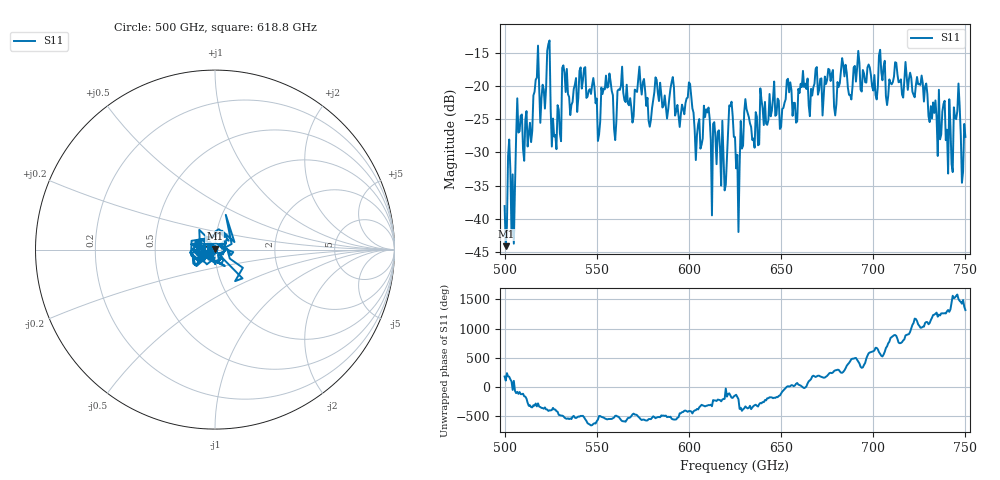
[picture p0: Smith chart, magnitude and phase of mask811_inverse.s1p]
!Created with skrf (http://scikit-rf.org).
# GHz S MA R 50.0
!freq magS11 angS11
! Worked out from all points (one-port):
!   401 points, 500 GHz to 750 GHz, reference 50 ohm
!   lowest |S11| = -44.2 dB at 500.6 GHz (marker M1), VSWR 1.01, Z = 49.8 + j0.597 ohm
!   |S11| at or under -10 dB: start of sweep to end of sweep
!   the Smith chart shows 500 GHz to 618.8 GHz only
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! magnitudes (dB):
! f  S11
! 500 GHz  -38.1
! 500.6 GHz  -44.2
! 505 GHz  -43.8
! 508.1 GHz  -26.8
! 513.8 GHz  -25.5
! 516.9 GHz  -19.0
! 520.6 GHz  -19.8
! 523.8 GHz  -13.6
! 526.9 GHz  -27.6
! 531.2 GHz  -17.2
! 542.5 GHz  -19.1
! 550.6 GHz  -28.3
! 562.5 GHz  -20.6
! 593.8 GHz  -22.8
! 609.4 GHz  -23.5
! 618.8 GHz  -30.3
! 622.5 GHz  -23.0
! 625 GHz  -27.7
! 626.2 GHz  -30.4
! 631.2 GHz  -23.4
! 634.4 GHz  -28.1
! 656.2 GHz  -24.5
! 676.9 GHz  -19.2
! 680 GHz  -22.7
! 683.8 GHz  -16.8
! 687.5 GHz  -21.3
! 718.8 GHz  -20.5
! 750 GHz  -27.6
